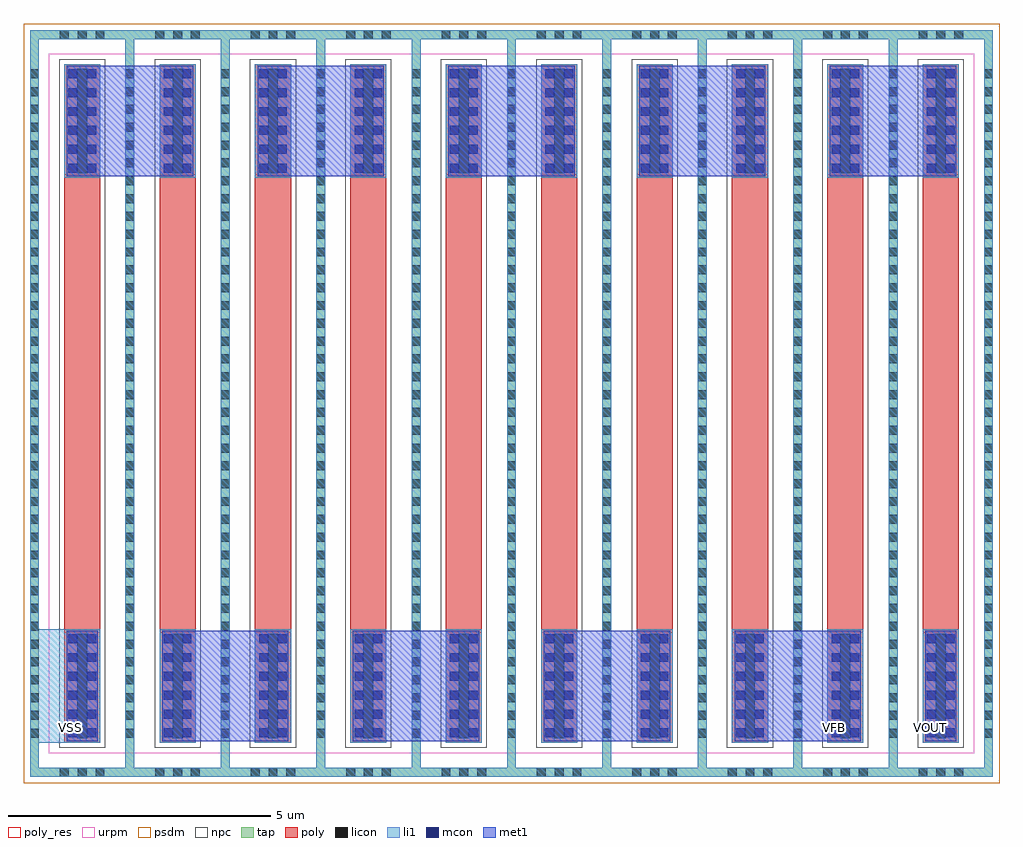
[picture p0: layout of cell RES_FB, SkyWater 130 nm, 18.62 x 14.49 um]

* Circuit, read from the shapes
.subckt RES_FB VFB VOUT VSS
XR1 n1 VSS VSS sky130_fd_pr__res_xhigh_po w=0.69 l=8.62
XR2 n1 n2 VSS sky130_fd_pr__res_xhigh_po w=0.69 l=8.62
XR3 n3 n2 VSS sky130_fd_pr__res_xhigh_po w=0.69 l=8.62
XR4 n3 n4 VSS sky130_fd_pr__res_xhigh_po w=0.69 l=8.62
XR5 n5 n4 VSS sky130_fd_pr__res_xhigh_po w=0.69 l=8.62
XR6 n5 n6 VSS sky130_fd_pr__res_xhigh_po w=0.69 l=8.62
XR7 n7 n6 VSS sky130_fd_pr__res_xhigh_po w=0.69 l=8.62
XR8 n7 VFB VSS sky130_fd_pr__res_xhigh_po w=0.69 l=8.62
XR9 n8 VFB VSS sky130_fd_pr__res_xhigh_po w=0.69 l=8.62
XR10 n8 VOUT VSS sky130_fd_pr__res_xhigh_po w=0.69 l=8.62
.ends

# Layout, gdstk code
import gdstk
lib = gdstk.Library(unit=1e-6, precision=1e-09)
def R(c, l, rs):  # rectangles x0, y0, x1, y1
    for r in rs: c.add(gdstk.rectangle(r[:2], r[2:], *l))
def A(c, l, x, y, w, h, nx, ny, dx, dy):  # array of equal rectangles
    R(c, l, [(x+i*dx, y+j*dy, x+i*dx+w, y+j*dy+h) for i in range(nx) for j in range(ny)])
tap = (65, 44)
poly_res = (66, 13)
poly = (66, 20)
licon = (66, 44)
li1 = (67, 20)
mcon = (67, 44)
met1 = (68, 20)
urpm = (79, 20)
psdm = (94, 20)
npc = (95, 20)

res_poly = lib.new_cell('res_poly')
R(res_poly, tap, [(-0.995,-7.12,0.995,-6.95), (-0.995,-6.95,-0.825,6.95), (0.825,-6.95,0.995,6.95), (-0.995,6.95,0.995,7.12)])
R(res_poly, poly_res, [(-0.345,-4.37,0.345,4.37)])
R(res_poly, poly, [(-0.345,-6.47,0.345,6.47)])
A(res_poly, licon, -0.425, -7.12, 0.17, 0.17, 3, 2, 0.34, 14.07)
A(res_poly, licon, -0.995, -6.375, 0.17, 0.17, 1, 38, 0, 0.34)
A(res_poly, licon, 0.825, -6.375, 0.17, 0.17, 1, 38, 0, 0.34)
R(res_poly, licon, [(-0.095,-6.39,0.095,-4.39), (-0.095,4.39,0.095,6.39)])
R(res_poly, li1, [(-0.995,-7.12,0.995,-6.95), (-0.995,-6.95,-0.825,6.95), (0.825,-6.95,0.995,6.95), (-0.345,-6.47,0.345,-4.31), (-0.345,4.31,0.345,6.47), (-0.995,6.95,0.995,7.12)])
A(res_poly, mcon, -0.265, -6.37, 0.17, 0.17, 1, 6, 0, 0.36)
A(res_poly, mcon, 0.095, -6.37, 0.17, 0.17, 1, 6, 0, 0.36)
A(res_poly, mcon, -0.265, 4.405, 0.17, 0.17, 1, 6, 0, 0.36)
A(res_poly, mcon, 0.095, 4.405, 0.17, 0.17, 1, 6, 0, 0.36)
R(res_poly, met1, [(-0.295,-6.44,0.295,-4.335), (-0.295,4.335,0.295,6.44)])
R(res_poly, urpm, [(-0.635,-6.67,0.635,6.67)])
R(res_poly, psdm, [(-1.12,-7.245,1.12,7.245)])
R(res_poly, npc, [(-0.44,-6.565,0.44,6.565)])

res_fb = lib.new_cell('RES_FB')
R(res_fb, li1, [(0.295,0.775,0.775,2.935)])
A(res_fb, met1, 3.235, 0.805, 1.23, 2.105, 4, 1, 3.64, 0)
A(res_fb, met1, 1.415, 11.58, 1.23, 2.105, 5, 1, 3.64, 0)
R(res_fb, urpm, [(0.485,0.575,18.135,13.915)])
res_fb.add(gdstk.Reference(res_poly, (2.94,7.245)))
res_fb.add(gdstk.Reference(res_poly, (6.58,7.245)))
res_fb.add(gdstk.Reference(res_poly, (8.4,7.245)))
res_fb.add(gdstk.Reference(res_poly, (12.04,7.245)))
res_fb.add(gdstk.Reference(res_poly, (15.68,7.245)))
res_fb.add(gdstk.Reference(res_poly, (13.86,7.245)))
res_fb.add(gdstk.Reference(res_poly, (17.5,7.245)))
res_fb.add(gdstk.Reference(res_poly, (10.22,7.245)))
res_fb.add(gdstk.Reference(res_poly, (1.12,7.245)))
res_fb.add(gdstk.Reference(res_poly, (4.76,7.245)))
res_fb.add(gdstk.Label('VSS', (0.903,1.056), layer=68, texttype=5))
res_fb.add(gdstk.Label('VOUT', (17.3,1.056), layer=68, texttype=5))
res_fb.add(gdstk.Label('VFB', (15.47,1.056), layer=68, texttype=5))

lib.write_gds('RES_FB.gds')
